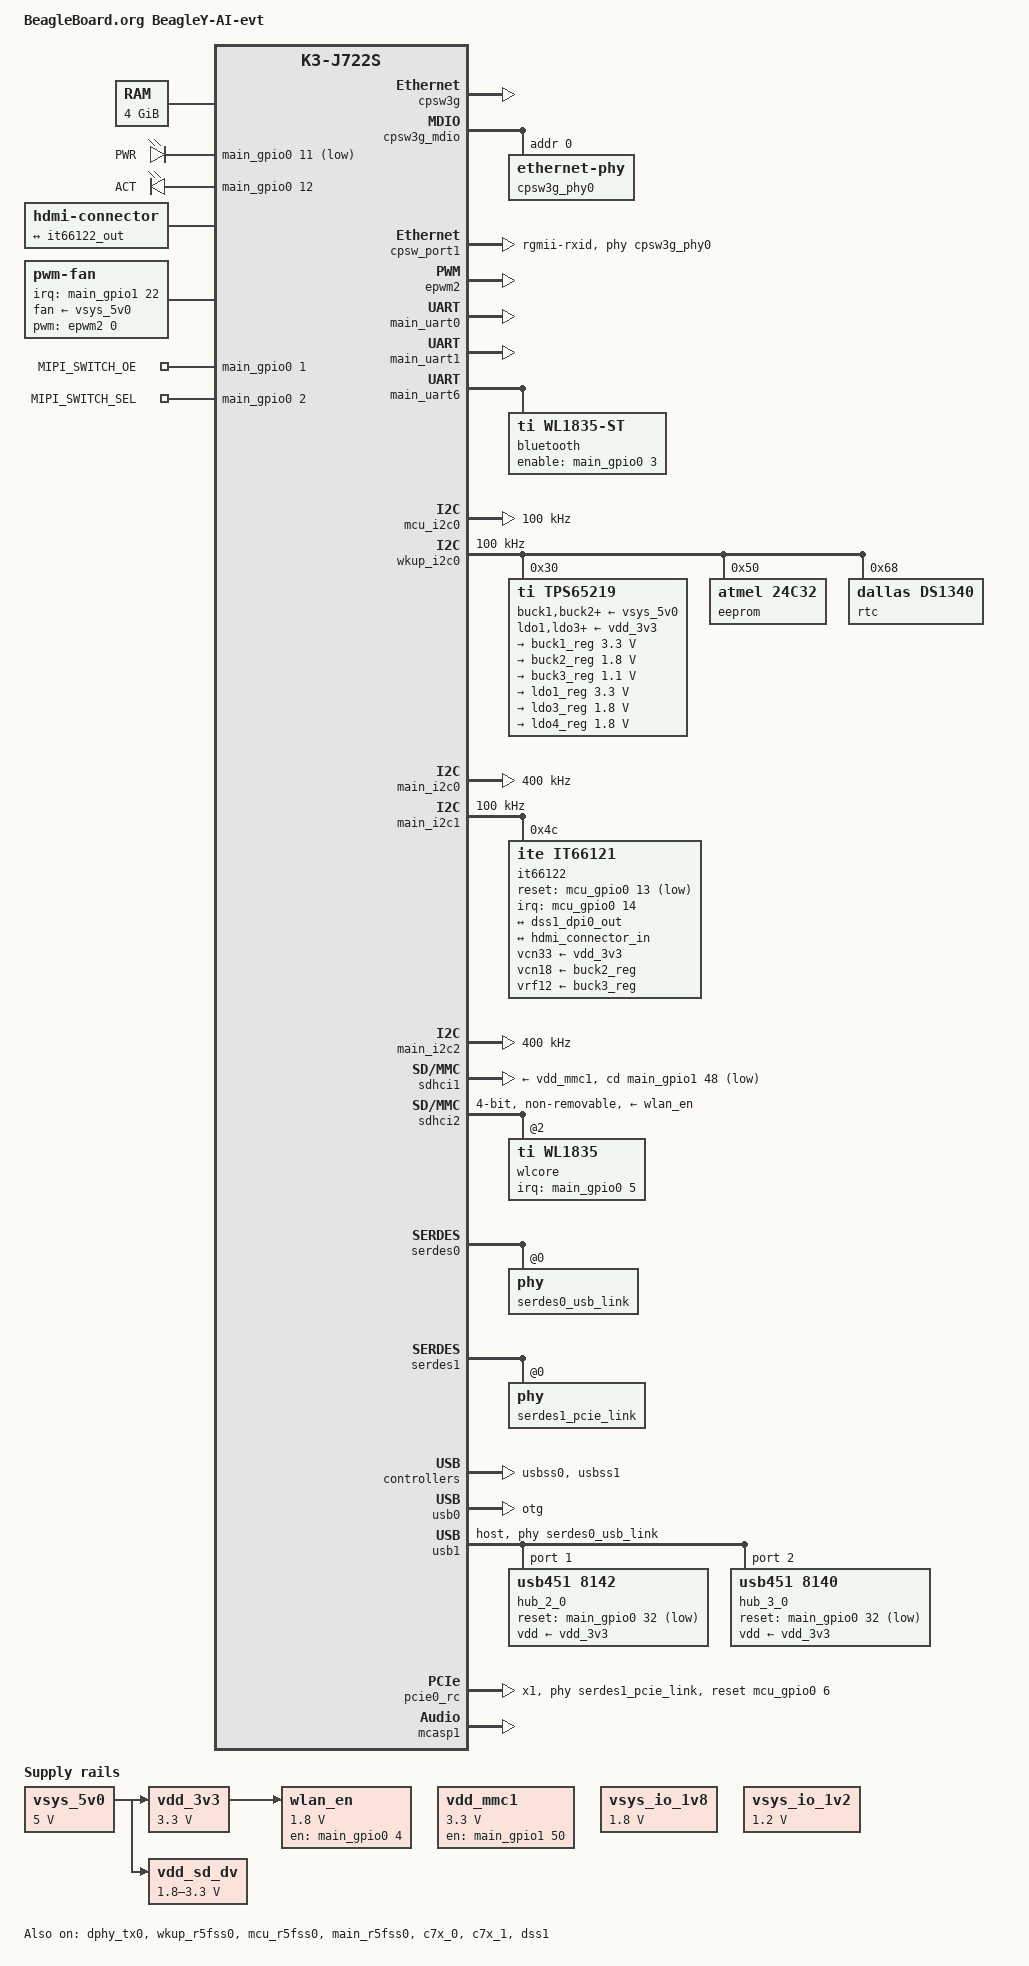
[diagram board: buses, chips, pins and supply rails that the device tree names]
// SPDX-License-Identifier: GPL-2.0-only OR MIT
/*
 * https://beagley-ai.org/
 *
 * Copyright (C) 2024 Texas Instruments Incorporated - https://www.ti.com/
 * Copyright (C) 2024 Robert Nelson, BeagleBoard.org Foundation
 */

//WARNING: this is for the EVT (DO NOT PUSH MAINLINE), production boards have some hardware changes...

/dts-v1/;

#include <dt-bindings/net/ti-dp83867.h>
#include "k3-j722s.dtsi"
#include "k3-am67a-beagley-ai-pinmux.dtsi"
#include <dt-bindings/leds/common.h>
#include <dt-bindings/gpio/gpio.h>
#include <dt-bindings/mux/ti-serdes.h>
#include <dt-bindings/phy/phy.h>
#include <dt-bindings/pwm/pwm.h>

/ {
	compatible = "beagle,j722s-beagley-ai", "ti,j722s";
	model = "BeagleBoard.org BeagleY-AI-evt";

	aliases {
		serial0 = &wkup_uart0;
		serial2 = &main_uart0;
		serial3 = &main_uart1;
		serial6 = &main_uart6;
		mmc1 = &sdhci1;
		mmc2 = &sdhci2;
		rtc0 = &rtc;
		spi0 = &spi_gpio;
		usb0 = &usb0;
		usb1 = &usb1;
		i2c1 = &mcu_i2c0;
	};

	chosen {
		stdout-path = &main_uart0;
		base_dtb = "k3-j722s-beagley-ai.dts";
		base_dtb_timestamp = __TIMESTAMP__;
	};

	memory@80000000 {
		/* 4G RAM */
		reg = <0x00000000 0x80000000 0x00000000 0x80000000>,
		      <0x00000008 0x80000000 0x00000000 0x80000000>;
		device_type = "memory";
		bootph-pre-ram;
	};

	reserved_memory: reserved-memory {
		#address-cells = <2>;
		#size-cells = <2>;
		ranges;

		/* global cma region */
		linux,cma {
			compatible = "shared-dma-pool";
			reusable;
			size = <0x00 0x38000000>;
			linux,cma-default;
		};

		secure_tfa_ddr: tfa@9e780000 {
			reg = <0x00 0x9e780000 0x00 0x80000>;
			no-map;
		};

		secure_ddr: optee@9e800000 {
			reg = <0x00 0x9e800000 0x00 0x01800000>;
			no-map;
		};

		wkup_r5fss0_core0_dma_memory_region: r5f-dma-memory@a0000000 {
			compatible = "shared-dma-pool";
			reg = <0x00 0xa0000000 0x00 0x100000>;
			no-map;
		};

		wkup_r5fss0_core0_memory_region: r5f-memory@a0100000 {
			compatible = "shared-dma-pool";
			reg = <0x00 0xa0100000 0x00 0xf00000>;
			no-map;
		};

		mcu_r5fss0_core0_dma_memory_region: mcu-r5fss-dma-memory-region@a1000000 {
			compatible = "shared-dma-pool";
			reg = <0x00 0xa1000000 0x00 0x100000>;
			no-map;
		};

		mcu_r5fss0_core0_memory_region: mcu-r5fss-memory-region@a1100000 {
			compatible = "shared-dma-pool";
			reg = <0x00 0xa1100000 0x00 0xf00000>;
			no-map;
		};

		main_r5fss0_core0_dma_memory_region: main-r5fss-dma-memory-region@a2000000 {
			compatible = "shared-dma-pool";
			reg = <0x00 0xa2000000 0x00 0x100000>;
			no-map;
		};

		main_r5fss0_core0_memory_region: main-r5fss-memory-region@a2100000 {
			compatible = "shared-dma-pool";
			reg = <0x00 0xa2100000 0x00 0xf00000>;
			no-map;
		};

		c7x_0_dma_memory_region: c7x-dma-memory@a3000000 {
			compatible = "shared-dma-pool";
			reg = <0x00 0xa3000000 0x00 0x100000>;
			no-map;
		};

		c7x_0_memory_region: c7x-memory@a3100000 {
			compatible = "shared-dma-pool";
			reg = <0x00 0xa3100000 0x00 0xf00000>;
			no-map;
		};

		c7x_1_dma_memory_region: c7x-dma-memory@a4000000 {
			compatible = "shared-dma-pool";
			reg = <0x00 0xa4000000 0x00 0x100000>;
			no-map;
		};

		c7x_1_memory_region: c7x-memory@a4100000 {
			compatible = "shared-dma-pool";
			reg = <0x00 0xa4100000 0x00 0xf00000>;
			no-map;
		};

		rtos_ipc_memory_region: ipc-memories@a5000000 {
			reg = <0x00 0xa5000000 0x00 0x1c00000>;
			alignment = <0x1000>;
			no-map;
		};
	};

	vsys_5v0: regulator-1 {
		compatible = "regulator-fixed";
		regulator-name = "vsys_5v0";
		regulator-min-microvolt = <5000000>;
		regulator-max-microvolt = <5000000>;
		regulator-always-on;
		regulator-boot-on;
		bootph-all;
	};

	vdd_3v3: regulator-2 {
		compatible = "regulator-fixed";
		regulator-name = "vdd_3v3";
		regulator-min-microvolt = <3300000>;
		regulator-max-microvolt = <3300000>;
		vin-supply = <&vsys_5v0>;
		regulator-always-on;
		regulator-boot-on;
	};

	wlan_en: regulator-3 {
		compatible = "regulator-fixed";
		regulator-name = "wlan_en";
		regulator-min-microvolt = <1800000>;
		regulator-max-microvolt = <1800000>;
		enable-active-high;
		/* regulator-always-on; */
		regulator-off-in-suspend;
		vin-supply = <&vdd_3v3>;
		gpio = <&main_gpio0 4 GPIO_ACTIVE_HIGH>;
		pinctrl-names = "default";
		pinctrl-0 = <&wifi_en_pins_default>;
	};

	vdd_mmc1: regulator-mmc1 {
		compatible = "regulator-fixed";
		regulator-name = "vdd_mmc1";
		pinctrl-names = "default";
		pinctrl-0 = <&vdd_3v3_sd_pins_default>;
		regulator-min-microvolt = <3300000>;
		regulator-max-microvolt = <3300000>;
		regulator-boot-on;
		enable-active-high;
		gpio = <&main_gpio1 50 GPIO_ACTIVE_HIGH>;
		bootph-all;
	};

	vdd_sd_dv: regulator-TLV71033 {
		compatible = "regulator-gpio";
		regulator-name = "tlv71033";
		pinctrl-names = "default";
		pinctrl-0 = <&vdd_sd_dv_pins_default>;
		regulator-min-microvolt = <1800000>;
		regulator-max-microvolt = <3300000>;
		regulator-boot-on;
		vin-supply = <&vsys_5v0>;
		gpios = <&main_gpio1 49 GPIO_ACTIVE_HIGH>;
		states = <1800000 0x0>,
			 <3300000 0x1>;
	};

	vsys_io_1v8: regulator-vsys-io-1v8 {
		compatible = "regulator-fixed";
		regulator-name = "vsys_io_1v8";
		regulator-min-microvolt = <1800000>;
		regulator-max-microvolt = <1800000>;
		regulator-always-on;
		regulator-boot-on;
	};

	vsys_io_1v2: regulator-vsys-io-1v2 {
		compatible = "regulator-fixed";
		regulator-name = "vsys_io_1v2";
		regulator-min-microvolt = <1200000>;
		regulator-max-microvolt = <1200000>;
		regulator-always-on;
		regulator-boot-on;
	};

	leds {
		compatible = "gpio-leds";
		pinctrl-names = "default";
		pinctrl-0 = <&led_pins_default>;

		led-0 {
			// red PWR
			label = "PWR";
			gpios = <&main_gpio0 11 GPIO_ACTIVE_LOW>;
			linux,default-trigger = "default-off";
			default-state = "off";
		};

		led-1 {
			// Green ACT
			label = "ACT";
			gpios = <&main_gpio0 12 GPIO_ACTIVE_HIGH>;
			function = LED_FUNCTION_HEARTBEAT;
			linux,default-trigger = "heartbeat";
			default-state = "on";
		};
	};

	hdmi0: connector-hdmi {
		compatible = "hdmi-connector";
		label = "hdmi";
		type = "d";
		port {
			hdmi_connector_in: endpoint {
				remote-endpoint = <&it66122_out>;
			};
		};
	};

	sound0: sound {
		compatible = "simple-audio-card";
		simple-audio-card,name = "it66121 HDMI";
		simple-audio-card,format = "i2s";
		simple-audio-card,bitclock-master = <&hdmi_dailink_master>;
		simple-audio-card,frame-master = <&hdmi_dailink_master>;

		hdmi_dailink_master: simple-audio-card,cpu {
			sound-dai = <&mcasp1>;
			system-clock-direction-out;
		};

		simple-audio-card,codec {
			sound-dai = <&it66122>;
		};
	};

	fan: cooling_fan {
		compatible = "pwm-fan";
		pinctrl-names = "default";
		pinctrl-0 = <&pwm_fan_pins>;
		fan-supply = <&vsys_5v0>;
		#cooling-cells = <2>;
		cooling-min-state = <0>;
		cooling-max-state = <3>;
		cooling-levels = <0 75 125 175 250>;
		pwms = <&epwm2 0 40000 0>;
		pulses-per-revolution = <2>;
		interrupt-parent = <&main_gpio1>;
		interrupts = <22 IRQ_TYPE_EDGE_FALLING>;
		status = "okay";
	};

	mipi_switch: mipi-switch {
		compatible = "gpio-leds";
		pinctrl-names = "default";
		pinctrl-0 = <&mipi_switch_pins>;

		oe-pin {
			label = "MIPI_SWITCH_OE";
			gpios = <&main_gpio0 1 GPIO_ACTIVE_HIGH>;
			default-state = "on";
		};

		sel-pin {
			label = "MIPI_SWITCH_SEL";
			gpios = <&main_gpio0 2 GPIO_ACTIVE_HIGH>;
			default-state = "off";
		};
	};

	spi_gpio: spi {
		compatible = "spi-gpio";
		#address-cells = <0x1>;
		#size-cells = <0x0>;
		pinctrl-names = "default";
		pinctrl-0 = <&spi_gpio_default_pins>;

		sck-gpios = <&mcu_gpio0 2 GPIO_ACTIVE_HIGH>;
		miso-gpios = <&mcu_gpio0 4 GPIO_ACTIVE_HIGH>;
		mosi-gpios = <&mcu_gpio0 3 GPIO_ACTIVE_HIGH>;

		num-chipselects = <2>;
		cs-gpios = <
			&mcu_gpio0 0 GPIO_ACTIVE_HIGH
			&mcu_gpio0 9 GPIO_ACTIVE_HIGH
		>;
		status = "disabled";
	};
};

&main_pmx0 {
	bootph-all;

	/delete-property/ interrupts;
	main_i2c0_pins_default: main-i2c0-default-pins {
		pinctrl-single,pins = <
			J722S_IOPAD(0x01e0, PIN_INPUT_PULLUP, 0) /* (D23) I2C0_SCL */
			J722S_IOPAD(0x01e4, PIN_INPUT_PULLUP, 0) /* (B22) I2C0_SDA */
		>;
		bootph-all;
	};

	main_uart0_pins_default: main-uart0-default-pins {
		pinctrl-single,pins = <
			J722S_IOPAD(0x01c8, PIN_INPUT, 0)	/* (A22) UART0_RXD */
			J722S_IOPAD(0x01cc, PIN_OUTPUT, 0)	/* (B22) UART0_TXD */
		>;
		bootph-all;
	};

	main_uart1_pins_default: main-uart1-default-pins {
		pinctrl-single,pins = <
			J722S_IOPAD(0x01ac, PIN_INPUT, 2) /* (C27) MCASP0_AFSR.UART1_RXD */
			J722S_IOPAD(0x01b0, PIN_OUTPUT, 2) /* (F24) MCASP0_ACLKR.UART1_TXD */
		>;
		bootph-all;
	};

	vdd_sd_dv_pins_default: vdd-sd-dv-default-pins {
		pinctrl-single,pins = <
			J722S_IOPAD(0x0244, PIN_OUTPUT, 7) /* (A24) MMC1_SDWP.GPIO1_49 */
		>;
		bootph-all;
	};

	main_mmc1_pins_default: main-mmc1-default-pins {
		pinctrl-single,pins = <
			J722S_IOPAD(0x023c, PIN_INPUT, 0) /* (H22) MMC1_CMD */
			J722S_IOPAD(0x0234, PIN_OUTPUT, 0) /* (H24) MMC1_CLK */
			J722S_IOPAD(0x0230, PIN_INPUT, 0) /* (H23) MMC1_DAT0 */
			J722S_IOPAD(0x022c, PIN_INPUT_PULLUP, 0) /* (H20) MMC1_DAT1 */
			J722S_IOPAD(0x0228, PIN_INPUT_PULLUP, 0) /* (J23) MMC1_DAT2 */
			J722S_IOPAD(0x0224, PIN_INPUT_PULLUP, 0) /* (H25) MMC1_DAT3 */
			J722S_IOPAD(0x0240, PIN_INPUT, 7) /* (B24) MMC1_SDCD.GPIO1_48 */
		>;
		bootph-all;
	};

	ospi0_pins_default: ospi0-default-pins {
		pinctrl-single,pins = <
			J722S_IOPAD(0x0000, PIN_OUTPUT, 0) /* (P23) OSPI0_CLK */
			J722S_IOPAD(0x002c, PIN_OUTPUT, 0) /* (M25) OSPI0_CSn0 */
			J722S_IOPAD(0x000c, PIN_INPUT, 0) /* (L25) OSPI0_D0 */
			J722S_IOPAD(0x0010, PIN_INPUT, 0) /* (N24) OSPI0_D1 */
			J722S_IOPAD(0x0014, PIN_INPUT, 0) /* (N25) OSPI0_D2 */
			J722S_IOPAD(0x0018, PIN_INPUT, 0) /* (M24) OSPI0_D3 */
			J722S_IOPAD(0x001c, PIN_INPUT, 0) /* (N21) OSPI0_D4 */
			J722S_IOPAD(0x0020, PIN_INPUT, 0) /* (N22) OSPI0_D5 */
			J722S_IOPAD(0x0024, PIN_INPUT, 0) /* (P21) OSPI0_D6 */
			J722S_IOPAD(0x0028, PIN_INPUT, 0) /* (N20) OSPI0_D7 */
			J722S_IOPAD(0x0008, PIN_INPUT, 0) /* (P22) OSPI0_DQS */
		>;
		bootph-all;
	};

	main_i2c1_pins_default: main-i2c1-default-pins {
		pinctrl-single,pins = <
			J722S_IOPAD(0x01e8, PIN_INPUT_PULLUP, 0) /* (C24) I2C1_SCL */
			J722S_IOPAD(0x01ec, PIN_INPUT_PULLUP, 0) /* (A22) I2C1_SDA */
		>;
		bootph-all;
	};

	main_i2c2_pins_default: main-i2c2-default-pins {
		pinctrl-single,pins = <
			J722S_IOPAD(0x00b0, PIN_INPUT_PULLUP, 1) /* (T22) GPMC0_CSn2.I2C2_SCL */
			J722S_IOPAD(0x00b4, PIN_INPUT_PULLUP, 1) /* (U25) GPMC0_CSn3.I2C2_SDA */
		>;
	};

	main_dpi_pins_default: main-dpi-default-pins {
		pinctrl-single,pins = <
			J722S_IOPAD(0x0100, PIN_OUTPUT, 0) /* (AB23) VOUT0_VSYNC */
			J722S_IOPAD(0x00f8, PIN_OUTPUT, 0) /* (AB24) VOUT0_HSYNC */
			J722S_IOPAD(0x0104, PIN_OUTPUT, 0) /* (AC26) VOUT0_PCLK */
			J722S_IOPAD(0x00fc, PIN_OUTPUT, 0) /* (AC27) VOUT0_DE */
			J722S_IOPAD(0x00b8, PIN_OUTPUT, 0) /* (W27) VOUT0_DATA0 */
			J722S_IOPAD(0x00bc, PIN_OUTPUT, 0) /* (W25) VOUT0_DATA1 */
			J722S_IOPAD(0x00c0, PIN_OUTPUT, 0) /* (W24) VOUT0_DATA2 */
			J722S_IOPAD(0x00c4, PIN_OUTPUT, 0) /* (W23) VOUT0_DATA3 */
			J722S_IOPAD(0x00c8, PIN_OUTPUT, 0) /* (W22) VOUT0_DATA4 */
			J722S_IOPAD(0x00cc, PIN_OUTPUT, 0) /* (W21) VOUT0_DATA5 */
			J722S_IOPAD(0x00d0, PIN_OUTPUT, 0) /* (Y26) VOUT0_DATA6 */
			J722S_IOPAD(0x00d4, PIN_OUTPUT, 0) /* (Y27) VOUT0_DATA7 */
			J722S_IOPAD(0x00d8, PIN_OUTPUT, 0) /* (AA24) VOUT0_DATA8 */
			J722S_IOPAD(0x00dc, PIN_OUTPUT, 0) /* (AA27) VOUT0_DATA9 */
			J722S_IOPAD(0x00e0, PIN_OUTPUT, 0) /* (AA25) VOUT0_DATA10 */
			J722S_IOPAD(0x00e4, PIN_OUTPUT, 0) /* (AB25) VOUT0_DATA11 */
			J722S_IOPAD(0x00e8, PIN_OUTPUT, 0) /* (AA23) VOUT0_DATA12 */
			J722S_IOPAD(0x00ec, PIN_OUTPUT, 0) /* (AA22) VOUT0_DATA13 */
			J722S_IOPAD(0x00f0, PIN_OUTPUT, 0) /* (AB26) VOUT0_DATA14 */
			J722S_IOPAD(0x00f4, PIN_OUTPUT, 0) /* (AB27) VOUT0_DATA15 */
			J722S_IOPAD(0x005c, PIN_OUTPUT, 1) /* (AC25) GPMC0_AD8.VOUT0_DATA16 */
			J722S_IOPAD(0x0060, PIN_OUTPUT, 1) /* (U26) GPMC0_AD9.VOUT0_DATA17 */
			J722S_IOPAD(0x0064, PIN_OUTPUT, 1) /* (V27) GPMC0_AD10.VOUT0_DATA18 */
			J722S_IOPAD(0x0068, PIN_OUTPUT, 1) /* (V25) GPMC0_AD11.VOUT0_DATA19 */
			J722S_IOPAD(0x006c, PIN_OUTPUT, 1) /* (V26) GPMC0_AD12.VOUT0_DATA20 */
			J722S_IOPAD(0x0070, PIN_OUTPUT, 1) /* (V24) GPMC0_AD13.VOUT0_DATA21 */
			J722S_IOPAD(0x0074, PIN_OUTPUT, 1) /* (V22) GPMC0_AD14.VOUT0_DATA22 */
			J722S_IOPAD(0x0078, PIN_OUTPUT, 1) /* (V23) GPMC0_AD15.VOUT0_DATA23 */
		>;
	};

	main_gpio0_ioexp_intr_pins_default: main-gpio0-ioexp-intr-default-pins {
		pinctrl-single,pins = <
			J722S_IOPAD(0x0110, PIN_INPUT, 7) /* (G27) MMC2_DAT1.GPIO0_67 */
		>;
	};

	mdio_pins_default: mdio-default-pins {
		pinctrl-single,pins = <
			J722S_IOPAD(0x0160, PIN_OUTPUT, 0) /* (AC24) MDIO0_MDC */
			J722S_IOPAD(0x015c, PIN_INPUT, 0) /* (AD25) MDIO0_MDIO */
		>;
	};

	rgmii1_pins_default: rgmii1-default-pins {
		pinctrl-single,pins = <
			J722S_IOPAD(0x014c, PIN_INPUT, 0) /* (AC25) RGMII1_RD0 */
			J722S_IOPAD(0x0150, PIN_INPUT, 0) /* (AD27) RGMII1_RD1 */
			J722S_IOPAD(0x0154, PIN_INPUT, 0) /* (AE24) RGMII1_RD2 */
			J722S_IOPAD(0x0158, PIN_INPUT, 0) /* (AE26) RGMII1_RD3 */
			J722S_IOPAD(0x0148, PIN_INPUT, 0) /* (AE27) RGMII1_RXC */
			J722S_IOPAD(0x0144, PIN_INPUT, 0) /* (AD23) RGMII1_RX_CTL */
			J722S_IOPAD(0x0134, PIN_OUTPUT, 0) /* (AF27) RGMII1_TD0 */
			J722S_IOPAD(0x0138, PIN_OUTPUT, 0) /* (AE23) RGMII1_TD1 */
			J722S_IOPAD(0x013c, PIN_OUTPUT, 0) /* (AG25) RGMII1_TD2 */
			J722S_IOPAD(0x0140, PIN_OUTPUT, 0) /* (AF24) RGMII1_TD3 */
			J722S_IOPAD(0x0130, PIN_OUTPUT, 0) /* (AG26) RGMII1_TXC */
			J722S_IOPAD(0x012c, PIN_OUTPUT, 0) /* (AF25) RGMII1_TX_CTL */
		>;
	};

	led_pins_default: led-default-pins {
		pinctrl-single,pins = <
            J722S_IOPAD(0x002c, PIN_OUTPUT, 7) /* (K26) OSPI0_CSn0.GPIO0_11 */
			J722S_IOPAD(0x0030, PIN_OUTPUT, 7) /* (K23) OSPI0_CSn1.GPIO0_12 */
		>;
	};

	vdd_3v3_sd_pins_default: vdd-3v3-sd-default-pins {
		pinctrl-single,pins = <
			J722S_IOPAD(0x0254, PIN_OUTPUT, 7) /* (E25) USB0_DRVVBUS.GPIO1_50 */
		>;
	};

	main_usb1_pins_default: main-usb1-default-pins {
		pinctrl-single,pins = <
			J722S_IOPAD(0x0258, PIN_INPUT, 0) /* (B27) USB1_DRVVBUS */
		>;
	};

	pmic_irq_pins_default: pmic-irq-default-pins {
		pinctrl-single,pins = <
			J722S_IOPAD(0x01f4, PIN_INPUT_PULLUP, 0) /* (B23) EXTINTn */
		>;
	};

	wifi_pins_default: wifi-default-pins {
		pinctrl-single,pins = <
			J722S_IOPAD(0x0120, PIN_INPUT, 0) /* (F27) MMC2_CMD */
			J722S_IOPAD(0x0118, PIN_OUTPUT, 0) /* (H26) MMC2_CLK */
			J722S_IOPAD(0x011C, PIN_INPUT, 0) /* () MMC2_CLKLB */
			J722S_IOPAD(0x0114, PIN_INPUT, 0) /* (G26) MMC2_DAT0 */
			J722S_IOPAD(0x0110, PIN_INPUT_PULLUP, 0) /* (G27) MMC2_DAT1 */
			J722S_IOPAD(0x010c, PIN_INPUT_PULLUP, 0) /* (H27) MMC2_DAT2 */
			J722S_IOPAD(0x0108, PIN_INPUT_PULLUP, 0) /* (J27) MMC2_DAT3 */
		>;
	};

	wifi_en_pins_default: wifi-en-default-pins {
		pinctrl-single,pins = <
			J722S_IOPAD(0x0010, PIN_OUTPUT, 7) /* (L27) OSPI0_D1.GPIO0_4 */
		>;
	};

	wifi_wlirq_pins_default: wifi-wlirq-default-pins {
		pinctrl-single,pins = <
			J722S_IOPAD(0x0014, PIN_INPUT, 7) /* (L26) OSPI0_D2.GPIO0_5 */
		>;
	};

	pwm_fan_pins: pwm-fan-pins {
		pinctrl-single,pins = <
			J722S_IOPAD(0x0124, PIN_OUTPUT, 4) /* (F26) MMC2_SDCD.EHRPWM2_A FAN_PWM */
			J722S_IOPAD(0x01d0, PIN_INPUT, 7) /* (E22) UART0_CTSn.GPIO1_22 FAN_TACH */
		>;
	};

	dss0_pins_default: dss0-default-pins {
		pinctrl-single,pins = <
			J722S_IOPAD(0x0100, PIN_OUTPUT, 0) /* (AB23) VOUT0_VSYNC */
			J722S_IOPAD(0x00f8, PIN_OUTPUT, 0) /* (AB24) VOUT0_HSYNC */
			J722S_IOPAD(0x0104, PIN_OUTPUT, 0) /* (AC26) VOUT0_PCLK */
			J722S_IOPAD(0x00fc, PIN_OUTPUT, 0) /* (AC27) VOUT0_DE */
			J722S_IOPAD(0x00b8, PIN_OUTPUT, 0) /* (W27) VOUT0_DATA0 */
			J722S_IOPAD(0x00bc, PIN_OUTPUT, 0) /* (W25) VOUT0_DATA1 */
			J722S_IOPAD(0x00c0, PIN_OUTPUT, 0) /* (W24) VOUT0_DATA2 */
			J722S_IOPAD(0x00c4, PIN_OUTPUT, 0) /* (W23) VOUT0_DATA3 */
			J722S_IOPAD(0x00c8, PIN_OUTPUT, 0) /* (W22) VOUT0_DATA4 */
			J722S_IOPAD(0x00cc, PIN_OUTPUT, 0) /* (W21) VOUT0_DATA5 */
			J722S_IOPAD(0x00d0, PIN_OUTPUT, 0) /* (Y26) VOUT0_DATA6 */
			J722S_IOPAD(0x00d4, PIN_OUTPUT, 0) /* (Y27) VOUT0_DATA7 */
			J722S_IOPAD(0x00d8, PIN_OUTPUT, 0) /* (AA24) VOUT0_DATA8 */
			J722S_IOPAD(0x00dc, PIN_OUTPUT, 0) /* (AA27) VOUT0_DATA9 */
			J722S_IOPAD(0x00e0, PIN_OUTPUT, 0) /* (AA25) VOUT0_DATA10 */
			J722S_IOPAD(0x00e4, PIN_OUTPUT, 0) /* (AB25) VOUT0_DATA11 */
			J722S_IOPAD(0x00e8, PIN_OUTPUT, 0) /* (AA23) VOUT0_DATA12 */
			J722S_IOPAD(0x00ec, PIN_OUTPUT, 0) /* (AA22) VOUT0_DATA13 */
			J722S_IOPAD(0x00f0, PIN_OUTPUT, 0) /* (AB26) VOUT0_DATA14 */
			J722S_IOPAD(0x00f4, PIN_OUTPUT, 0) /* (AB27) VOUT0_DATA15 */
			J722S_IOPAD(0x005c, PIN_OUTPUT, 1) /* (U27) GPMC0_AD8.VOUT0_DATA16 */
			J722S_IOPAD(0x0060, PIN_OUTPUT, 1) /* (U26) GPMC0_AD9.VOUT0_DATA17 */
			J722S_IOPAD(0x0064, PIN_OUTPUT, 1) /* (V27) GPMC0_AD10.VOUT0_DATA18 */
			J722S_IOPAD(0x0068, PIN_OUTPUT, 1) /* (V25) GPMC0_AD11.VOUT0_DATA19 */
			J722S_IOPAD(0x006c, PIN_OUTPUT, 1) /* (V26) GPMC0_AD12.VOUT0_DATA20 */
			J722S_IOPAD(0x0070, PIN_OUTPUT, 1) /* (V24) GPMC0_AD13.VOUT0_DATA21 */
			J722S_IOPAD(0x0074, PIN_OUTPUT, 1) /* (V22) GPMC0_AD14.VOUT0_DATA22 */
			J722S_IOPAD(0x0078, PIN_OUTPUT, 1) /* (V23) GPMC0_AD15.VOUT0_DATA23 */
		>;
	};

	csi1_gpio_pins_default: csi1-gpio-default-pins {
		pinctrl-single,pins = <
			J722S_IOPAD(0x01d8, PIN_OUTPUT, 7) /* (D22) MCAN0_TX.GPIO1_24 */
		>;
	};

	usb_hub: usb-hub-default-pins {
		pinctrl-single,pins = <
			J722S_IOPAD(0x0084, PIN_OUTPUT, 7) /* (N21) GPMC0_ADVn_ALE.GPIO0_32 */
		>;
	};

	mipi_switch_pins: mipi-switch-default-pins {
		pinctrl-single,pins = <
			J722S_IOPAD(0x0004, PIN_OUTPUT, 7) /* (L23) OSPI0_LBCLKO.GPIO0_1 */
			J722S_IOPAD(0x0008, PIN_OUTPUT, 7) /* (L22) OSPI0_DQS.GPIO0_2 */
		>;
	};

	main_uart6_pins_default: main-uart6-default-pins {
		pinctrl-single,pins = <
			J722S_IOPAD(0x0028, PIN_INPUT, 3)	/* (M27) OSPI0_D7.UART6_CTSn */
			J722S_IOPAD(0x0024, PIN_OUTPUT, 3)	/* (N27) OSPI0_D6.UART6_RTSn */
			J722S_IOPAD(0x001c, PIN_INPUT, 3)	/* (L21) OSPI0_D4.UART6_RXD */
			J722S_IOPAD(0x0020, PIN_OUTPUT, 3)	/* (M26) OSPI0_D5.UART6_TXD */
		>;
	};

	bt_en_pins_default: bt-en-default-pins {
		pinctrl-single,pins = <
			J722S_IOPAD(0x000c, PIN_OUTPUT, 7)	/* (K27) OSPI0_D0.GPIO0_3 */
		>;
	};

	main_oldi_backlight_default_pins: main-backlight-default-pins {
		pinctrl-single,pins = <
			J722S_IOPAD(0x01f0, PIN_OUTPUT, 8) /* (A23) EXT_REFCLK1.ECAP0_IN_APWM_OUT */
		>;
	};

	main_oldi_touchscreen_default_pins: main-touchscreen-default-pins {
		pinctrl-single,pins = <
			J722S_IOPAD(0x0038, PIN_INPUT, 7) /* (J22) OSPI0_CSn3.GPIO0_14 */
		>;
	};

	main_mcasp1_pins_default: main-mcasp1-default-pins {
		pinctrl-single,pins = <
			J722S_IOPAD(0x0090, PIN_INPUT, 2) /* (P27) GPMC0_BE0n_CLE.MCASP1_ACLKX */
			J722S_IOPAD(0x0098, PIN_INPUT, 2) /* (V21) GPMC0_WAIT0.MCASP1_AFSX */
			J722S_IOPAD(0x008c, PIN_INPUT, 2) /* (N23) GPMC0_WEn.MCASP1_AXR0 */
		>;
	};
};

&cpsw3g {
	status = "okay";
	pinctrl-names = "default";
	pinctrl-0 = <&rgmii1_pins_default>, <&gbe_pmx_obsclk>;

	assigned-clocks = <&k3_clks 227 0>;
	assigned-clock-parents = <&k3_clks 227 6>;
};

&cpsw3g_mdio {
	status = "okay";
	pinctrl-names = "default";
	pinctrl-0 = <&mdio_pins_default>;

	cpsw3g_phy0: ethernet-phy@0 {
		reg = <0>;
		ti,rx-internal-delay = <DP83867_RGMIIDCTL_2_00_NS>;
		ti,fifo-depth = <DP83867_PHYCR_FIFO_DEPTH_4_B_NIB>;
		ti,min-output-impedance;
	};
};

&cpsw_port1 {
	phy-mode = "rgmii-rxid";
	phy-handle = <&cpsw3g_phy0>;
};

&cpsw_port2 {
	status = "disabled";
};

&epwm2 {
	status = "okay";
};

&main_gpio0 {
	status = "okay";
	pinctrl-names = "default";
	/* GPIO line names can change, were mainly put in for debug purposes */
	gpio-line-names = "", "", "", "", "", /* 0-4 */
					  "", "", "", "", "", /* 5-9 */
					  "", "", "", "", "", /* 10-14 */
					  "", "", "", "", "", /* 15-19 */
					  "", "", "", "", "", /* 20-24 */
					  "", "", "", "", "", /* 25-29 */
					  "", "", "USB_RST", "", ""; /* 30-34 */
};

&main_gpio1 {
	status = "okay";
};

&mcu_gpio0 {
	status = "okay";
	pinctrl-names = "default";
	/* GPIO line names can change, were mainly put in for debug purposes */
	gpio-line-names = "", "", "", "", "",
					  "", "", "", "", "",
					  "", "", "", "HDMI_RSTn", "HDMI_INTn";
};

&main_uart0 {
	pinctrl-names = "default";
	pinctrl-0 = <&main_uart0_pins_default>;
	status = "okay";
	bootph-all;
};

&main_uart1 {
	symlink = "ttyAMA0";
	//pinctrl-names = "default";
	//pinctrl-0 = <&main_uart1_pins_default>;
	status = "okay";
	bootph-all;
};

&main_uart6 {
	symlink = "board/bluetooth/uart";
	pinctrl-names = "default";
	pinctrl-0 = <&main_uart6_pins_default>;
	status = "okay";
	bootph-all;

	bluetooth {
		pinctrl-names = "default";
		pinctrl-0 = <&bt_en_pins_default>;
		compatible = "ti,wl1835-st";
		enable-gpios = <&main_gpio0 3 GPIO_ACTIVE_HIGH>;
	};
};

&main0_thermal {
	trips {
		main0_active0: trip-active0 {
			temperature = <40000>;
			hysteresis = <5000>;
			type = "active";
		};

		main0_active1: trip-active1 {
			temperature = <48000>;
			hysteresis = <3000>;
			type = "active";
		};

		main0_active2: trip-active2 {
			temperature = <60000>;
			hysteresis = <10000>;
			type = "active";
		};
	};

	cooling-maps {
		map1 {
			trip = <&main0_active0>;
			cooling-device = <&fan 1 1>;
		};

		map2 {
			trip = <&main0_active1>;
			cooling-device = <&fan 2 2>;
		};

		map3 {
			trip = <&main0_active2>;
			cooling-device = <&fan 3 3>;
		};
	};
};

&mcu_pmx0 {
	bootph-all;

	wkup_uart0_pins_default: wkup-uart0-default-pins {
		pinctrl-single,pins = <
			J722S_MCU_IOPAD(0x02c, PIN_INPUT, 0)	/* (C7) WKUP_UART0_CTSn */
			J722S_MCU_IOPAD(0x030, PIN_OUTPUT, 0)	/* (C6) WKUP_UART0_RTSn */
			J722S_MCU_IOPAD(0x024, PIN_INPUT, 0)	/* (D8) WKUP_UART0_RXD */
			J722S_MCU_IOPAD(0x028, PIN_OUTPUT, 0)	/* (D7) WKUP_UART0_TXD */
		>;
		bootph-all;
	};

	wkup_i2c0_pins_default: wkup-i2c0-default-pins {
		pinctrl-single,pins = <
			J722S_MCU_IOPAD(0x04c, PIN_INPUT_PULLUP, 0)	/* (C7) WKUP_I2C0_SCL */
			J722S_MCU_IOPAD(0x050, PIN_INPUT_PULLUP, 0)	/* (C6) WKUP_I2C1_SDA */
		>;
		bootph-all;
	};

	wifi_32k_clk: mcu-clk-out-default-pins {
		pinctrl-single,pins = <
			J722S_MCU_IOPAD(0x0084, PIN_OUTPUT, 0) /* (F12) WKUP_CLKOUT0 */
		>;
	};

	hdmi_gpio_pins_default: hdmi-gpio-default-pins {
		pinctrl-single,pins = <
			J722S_MCU_IOPAD(0x0038, PIN_INPUT_PULLUP | PIN_DEBOUNCE_CONF6, 7) /* (D8) MCU_MCAN0_RX.MCU_GPIO0_14 HDMI_INTn */
			J722S_MCU_IOPAD(0x0034, PIN_OUTPUT_PULLUP, 7) /* (B2) MCU_MCAN0_TX.MCU_GPIO0_13 HDMI_RSTn */
		>;
	};

	pcie_pins_default: pcie-default-pins {
		pinctrl-single,pins = <
			J722S_MCU_IOPAD(0x0018, PIN_OUTPUT, 7)	/* (B4) MCU_UART0_TXD.MCU_GPIO0_6 */
			J722S_MCU_IOPAD(0x0014, PIN_INPUT, 7)	/* (B8) MCU_UART0_RXD.MCU_GPIO0_5 */ /* PCIE_DET_WAKE */
			J722S_MCU_IOPAD(0x0020, PIN_OUTPUT, 7)	/* (C5) MCU_UART0_RTSn.MCU_GPIO0_8 */ /* PCIE_PWR_EN */
		>;
	};

	csi0_gpio_pins_default: csi0-gpio-default-pins {
		pinctrl-single,pins = <
			J722S_MCU_IOPAD(0x003c, PIN_OUTPUT, 7) /* (C1) MCU_MCAN1_TX.MCU_GPIO0_15 */
		>;
	};

	mcu_i2c0_pins_default: mcu-i2c0-default-pins {
		pinctrl-single,pins = <
			J722S_MCU_IOPAD(0x0044, PIN_INPUT_PULLUP, 0) /* (B13) MCU_I2C0_SCL */
			J722S_MCU_IOPAD(0x0048, PIN_INPUT_PULLUP, 0) /* (E11) MCU_I2C0_SDA */
		>;
		bootph-all;
	};

	mcu_oldi_backlight_default_pins: mcu-backlight-default-pins {
		pinctrl-single,pins = <
			J722S_MCU_IOPAD(0x002c, PIN_OUTPUT, 7) /* (C4) WKUP_UART0_CTSn.MCU_GPIO0_11 */
		>;
	};

	mcu_oldi_touchscreen_default_pins: mcu-touchscreen-default-pins {
		pinctrl-single,pins = <
			J722S_MCU_IOPAD(0x0030, PIN_OUTPUT, 7) /* (C3) WKUP_UART0_RTSn.MCU_GPIO0_12 */
		>;
	};

	gbe_pmx_obsclk: gbe-pmx-obsclk-default-pins {
		pinctrl-single,pins = <
			J722S_MCU_IOPAD(0x0004, PIN_OUTPUT, 1) /* (A10) MCU_SPI0_CS1.MCU_OBSCLK0 */
		>;
	};

	spi_gpio_default_pins: spi-gpio-pins {
		pinctrl-single,pins = <
			J722S_MCU_IOPAD(0x000, PIN_OUTPUT, 7)	/* (C12) MCU_SPI0_CS0.MCU_GPIO0_0 SS 0 */
			J722S_MCU_IOPAD(0x024, PIN_OUTPUT, 7)	/* (B3) WKUP_UART0_RXD.MCU_GPIO0_9 SS 1 */
			J722S_MCU_IOPAD(0x008, PIN_OUTPUT, 7)	/* (A9) MCU_SPI0_CLK.MCU_GPIO0_2 SCLK */
			J722S_MCU_IOPAD(0x010, PIN_INPUT, 7)	/* (C11) MCU_SPI0_D1.MCU_GPIO0_4 MISO */
			J722S_MCU_IOPAD(0x00C, PIN_OUTPUT, 7)	/* (B12) MCU_SPI0_D0.MCU_GPIO0_3 MOSI */
		>;
	};
};

&wkup_uart0 {
	/* WKUP UART0 is used by Device Manager firmware */
	pinctrl-names = "default";
	pinctrl-0 = <&wkup_uart0_pins_default>;
	status = "reserved";
	bootph-all;
};

&mcu_i2c0 {
	symlink = "hat/mcu_i2c0";
	status = "okay";
	pinctrl-names = "default";
	pinctrl-0 = <&mcu_i2c0_pins_default>;
	clock-frequency = <100000>;
	bootph-all;
};

&wkup_i2c0 {
	pinctrl-names = "default";
	pinctrl-0 = <&wkup_i2c0_pins_default>;
	symlink = "hat/wkup_i2c0";
	clock-frequency = <100000>;
	status = "okay";
	bootph-all;

	tps65219: pmic@30 {
		bootph-all;
		compatible = "ti,tps65219";
		reg = <0x30>;
		buck1-supply = <&vsys_5v0>;
		buck2-supply = <&vsys_5v0>;
		buck3-supply = <&vsys_5v0>;
		ldo1-supply = <&vdd_3v3>;
		ldo3-supply = <&vdd_3v3>;
		ldo4-supply = <&vdd_3v3>;

		pinctrl-names = "default";
		pinctrl-0 = <&pmic_irq_pins_default>;
		interrupt-parent = <&gic500>;
		interrupts = <GIC_SPI 224 IRQ_TYPE_LEVEL_HIGH>;
		interrupt-controller;
		#interrupt-cells = <1>;

		system-power-controller;
		ti,power-button;

		regulators {
			buck1_reg: buck1 {
				regulator-name = "VDD_3V3";
				regulator-min-microvolt = <3300000>;
				regulator-max-microvolt = <3300000>;
				regulator-boot-on;
				regulator-always-on;
			};

			buck2_reg: buck2 {
				regulator-name = "VDD_1V8";
				regulator-min-microvolt = <1800000>;
				regulator-max-microvolt = <1800000>;
				regulator-boot-on;
				regulator-always-on;
			};

			buck3_reg: buck3 {
				regulator-name = "VDD_1V1";
				regulator-min-microvolt = <1100000>;
				regulator-max-microvolt = <1100000>;
				regulator-boot-on;
				regulator-always-on;
			};

			ldo1_reg: ldo1 {
				regulator-name = "VDDSHV5_SDIO";
				regulator-min-microvolt = <3300000>;
				regulator-max-microvolt = <3300000>;
				regulator-allow-bypass;
				regulator-boot-on;
				regulator-always-on;
			};

			ldo2_reg: ldo2 {
				/* Regulator is left as is unused. */
			};

			ldo3_reg: ldo3 {
				regulator-name = "VDDA_PHY_1V8";
				regulator-min-microvolt = <1800000>;
				regulator-max-microvolt = <1800000>;
				regulator-boot-on;
				regulator-always-on;
			};

			ldo4_reg: ldo4 {
				regulator-name = "VDDA_PLL_1V8";
				regulator-min-microvolt = <1800000>;
				regulator-max-microvolt = <1800000>;
				regulator-boot-on;
				regulator-always-on;
			};
		};
	};

	eeprom@50 {
		compatible = "atmel,24c32";
		reg = <0x50>;
	};

	rtc: rtc@68 {
		compatible = "dallas,ds1340";
		reg = <0x68>;
	};
};

dsi0_csi1_i2c: &main_i2c0 {
	symlink = "hat/dsi0_csi1_i2c";
	status = "okay";
	pinctrl-names = "default";
	pinctrl-0 = <&main_i2c0_pins_default>;
	clock-frequency = <400000>;
	bootph-all;
};

&main_i2c1 {
	symlink = "hat/main_i2c1";
	status = "okay";
	pinctrl-names = "default";
	pinctrl-0 = <&main_i2c1_pins_default>;
	clock-frequency = <100000>;
	bootph-all;

	/* Really it66121 but we are testing overlays on pre-production boards mirror production it66122 for now */
	it66122: bridge-hdmi@4c {
		compatible = "ite,it66121";
		reg = <0x4c>;
		pinctrl-names = "default";
		pinctrl-0 = <&hdmi_gpio_pins_default>;
		vcn33-supply = <&vdd_3v3>;
		vcn18-supply = <&buck2_reg>;
		vrf12-supply = <&buck3_reg>;
		reset-gpios = <&mcu_gpio0 13 GPIO_ACTIVE_LOW>;
		interrupt-parent = <&mcu_gpio0>;
		interrupts = <14 IRQ_TYPE_EDGE_FALLING>;
		#sound-dai-cells = <0>;

		ports {
			#address-cells = <1>;
			#size-cells = <0>;

			/*
			 * HDMI can be serviced with 3 potential VPs -
			 * (DSS0 VP1 / DSS1 VP0 / DSS1 VP1).
			 * For now, we will service it with DSS0 VP1.
			 */
			port@0 {
				reg = <0>;

				it66122_in: endpoint {
					bus-width = <24>;
					remote-endpoint = <&dss1_dpi0_out>;
				};
			};

			port@1 {
				reg = <1>;

				it66122_out: endpoint {
					remote-endpoint = <&hdmi_connector_in>;
				};
			};
		};
	};
};

csi0_i2c: &main_i2c2 {
	symlink = "hat/csi0";
	status = "okay";
	pinctrl-names = "default";
	pinctrl-0 = <&main_i2c2_pins_default>;
	clock-frequency = <400000>;
	status = "okay";

	#address-cells = <1>;
	#size-cells = <0>;
};

&sdhci0 {
	/*eMMC*/
	status = "disabled";
};

&sdhci1 {
	/* SD/MMC */
	vmmc-supply = <&vdd_mmc1>;
	vqmmc-supply = <&vdd_sd_dv>;
	pinctrl-names = "default";
	pinctrl-0 = <&main_mmc1_pins_default>;
	disable-wp;
	cd-gpios = <&main_gpio1 48 GPIO_ACTIVE_LOW>;
	cd-debounce-delay-ms = <100>;
	bootph-all;
	ti,fails-without-test-cd;
	status = "okay";
};

&sdhci2 {
	vmmc-supply = <&wlan_en>;
	pinctrl-names = "default";
	pinctrl-0 = <&wifi_pins_default>, <&wifi_32k_clk>;
	bus-width = <4>;
	non-removable;
	ti,fails-without-test-cd;
	cap-power-off-card;
	keep-power-in-suspend;
	ti,driver-strength-ohm = <50>;
	assigned-clocks = <&k3_clks 157 174>;
	assigned-clock-parents = <&k3_clks 157 175>;
	#address-cells = <1>;
	#size-cells = <0>;
	status = "okay";

	wlcore: wlcore@2 {
		compatible = "ti,wl1835";
		reg = <2>;
		pinctrl-names = "default";
		pinctrl-0 = <&wifi_wlirq_pins_default>;
		interrupt-parent = <&main_gpio0>;
		interrupts = <5 IRQ_TYPE_EDGE_FALLING>;
	};
};

&ospi0 {
	status = "disabled";
};

&dphy_tx0 {
	status = "okay";
};

&dsi0 {
	status = "disabled";
	#address-cells = <1>;
	#size-cells = <0>;

	bridge@0 {
		status = "disabled";
	};
};

&mailbox0_cluster0 {
	status = "okay";
	mbox_r5_0: mbox-r5-0 {
		ti,mbox-rx = <0 0 0>;
		ti,mbox-tx = <1 0 0>;
	};
};

&mailbox0_cluster1 {
	status = "okay";
	mbox_mcu_r5_0: mbox-mcu-r5-0 {
		ti,mbox-rx = <0 0 0>;
		ti,mbox-tx = <1 0 0>;
	};
};

&mailbox0_cluster2 {
	status = "okay";
	mbox_c7x_0: mbox-c7x-0 {
		ti,mbox-rx = <0 0 0>;
		ti,mbox-tx = <1 0 0>;
	};
};

&mailbox0_cluster3 {
	status = "okay";
	mbox_main_r5_0: mbox-main-r5-0 {
		ti,mbox-rx = <0 0 0>;
		ti,mbox-tx = <1 0 0>;
	};

	mbox_c7x_1: mbox-c7x-1 {
		ti,mbox-rx = <2 0 0>;
		ti,mbox-tx = <3 0 0>;
	};
};

&wkup_r5fss0 {
	status = "okay";
};

&wkup_r5fss0_core0 {
	mboxes = <&mailbox0_cluster0 &mbox_r5_0>;
	memory-region = <&wkup_r5fss0_core0_dma_memory_region>,
			<&wkup_r5fss0_core0_memory_region>;
};

&mcu_r5fss0 {
	status = "okay";
};

&mcu_r5fss0_core0 {
	mboxes = <&mailbox0_cluster1 &mbox_mcu_r5_0>;
	memory-region = <&mcu_r5fss0_core0_dma_memory_region>,
			<&mcu_r5fss0_core0_memory_region>;
};

&main_r5fss0 {
	status = "okay";
};

&main_r5fss0_core0 {
	mboxes = <&mailbox0_cluster3 &mbox_main_r5_0>;
	memory-region = <&main_r5fss0_core0_dma_memory_region>,
			<&main_r5fss0_core0_memory_region>;
};

&c7x_0 {
	status = "okay";
	mboxes = <&mailbox0_cluster2 &mbox_c7x_0>;
	memory-region = <&c7x_0_dma_memory_region>,
			<&c7x_0_memory_region>;
};

&c7x_1 {
	status = "okay";
	mboxes = <&mailbox0_cluster3 &mbox_c7x_1>;
	memory-region = <&c7x_1_dma_memory_region>,
			<&c7x_1_memory_region>;
};

&serdes_ln_ctrl {
	idle-states = <J722S_SERDES0_LANE0_USB>,
		      <J722S_SERDES1_LANE0_PCIE0_LANE0>;
};

&serdes0 {
	status = "okay";
	serdes0_usb_link: phy@0 {
		reg = <0>;
		cdns,num-lanes = <1>;
		#phy-cells = <0>;
		cdns,phy-type = <PHY_TYPE_USB3>;
		resets = <&serdes_wiz0 1>;
	};
};

&serdes1 {
	serdes1_pcie_link: phy@0 {
		reg = <0>;
		cdns,num-lanes = <1>;
		#phy-cells = <0>;
		cdns,phy-type = <PHY_TYPE_PCIE>;
		resets = <&serdes_wiz1 1>;
	};
};

&usbss0 {
	status = "okay";
	ti,vbus-divider;
};

&usb0 {
	dr_mode = "otg";
	usb-role-switch;
};

&usbss1 {
	status = "okay";
	pinctrl-names = "default";
	pinctrl-0 = <&main_usb1_pins_default>;
	ti,vbus-divider;
};

&usb1 {
	dr_mode = "host";
	maximum-speed = "super-speed";
	phys = <&serdes0_usb_link>;
	phy-names = "cdns3,usb3-phy";

	#address-cells = <1>;
	#size-cells = <0>;
	pinctrl-names = "default";
	pinctrl-0 = <&usb_hub>;
	status = "okay";

	/* 2.0 hub on port 1 */
	hub_2_0: hub@1 {
		compatible = "usb451,8142";
		reg = <1>;
		peer-hub = <&hub_3_0>;
		reset-gpios = <&main_gpio0 32 GPIO_ACTIVE_LOW>;
		vdd-supply = <&vdd_3v3>;
	};

	/* 3.0 hub on port 2 */
	hub_3_0: hub@2 {
		compatible = "usb451,8140";
		reg = <2>;
		peer-hub = <&hub_2_0>;
		reset-gpios = <&main_gpio0 32 GPIO_ACTIVE_LOW>;
		vdd-supply = <&vdd_3v3>;
	};
};

&pcie0_rc {
	status = "okay";
	pinctrl-names = "default";
	pinctrl-0 = <&pcie_pins_default>;
	phys = <&serdes1_pcie_link>;
	phy-names = "pcie-phy";
	num-lanes = <1>;
	max-link-speed = <3>;
	reset-gpios = <&mcu_gpio0 6 GPIO_ACTIVE_HIGH>;
	enable-gpios = <&mcu_gpio0 8 GPIO_ACTIVE_HIGH>; /* Extra GPIO for pwr_en for BeagleY AI */
};

&dss1 {
	status = "okay";
	pinctrl-names = "default";
	pinctrl-0 = <&main_dpi_pins_default>;

	assigned-clocks = <&k3_clks 241 0>,	/* DSS1-VP0 */
			  <&k3_clks 240 0>,	/* DSS1-VP1 */
			  <&k3_clks 245 0>;	/* DPI Output */

	assigned-clock-parents = <&k3_clks 241 2>,	/* PLL 17 HDMI */
				 <&k3_clks 240 1>,	/* PLL 18 DSI */
				 <&k3_clks 245 2>;	/* DSS1-DPI0 */
};

&dss1_ports {
	#address-cells = <1>;
	#size-cells = <0>;

	/* DSS1-VP1: DPI/HDMI Output */
	port@0 {
		reg = <0>;

		dss1_dpi0_out: endpoint {
			remote-endpoint = <&it66122_in>;
		};
	};
};

&mcasp1 {
	status = "okay";
	#sound-dai-cells = <0>;
	pinctrl-names = "default";
	pinctrl-0 = <&main_mcasp1_pins_default>;
	auxclk-fs-ratio = <2177>;
	op-mode = <0>;          /* MCASP_IIS_MODE */
	tdm-slots = <2>;
	serial-dir = <  /* 0: INACTIVE, 1: TX, 2: RX */
	       1 0 0 0
	       0 0 0 0
	       0 0 0 0
	       0 0 0 0
	>;
	tx-num-evt = <32>;
	rx-num-evt = <32>;
};
